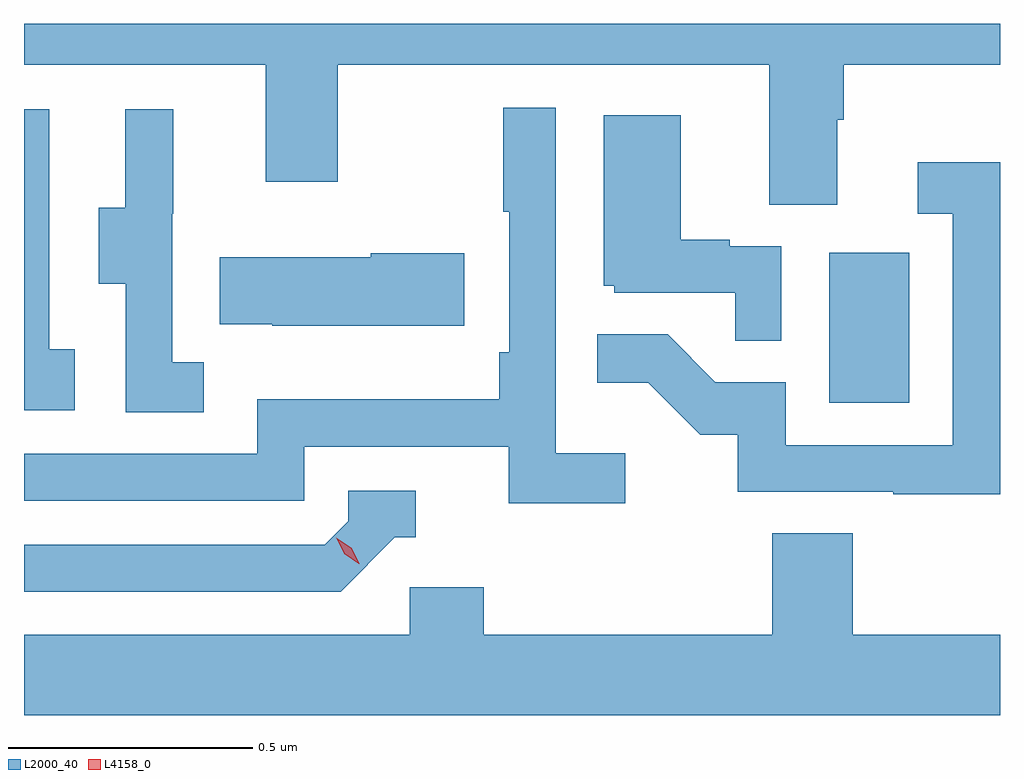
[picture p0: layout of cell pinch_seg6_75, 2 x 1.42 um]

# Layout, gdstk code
import gdstk
lib = gdstk.Library(unit=1e-6, precision=1e-09)
def R(c, l, rs):  # rectangles x0, y0, x1, y1
    for r in rs: c.add(gdstk.rectangle(r[:2], r[2:], *l))
def P(c, l, *ps):  # polygons
    for p in ps: c.add(gdstk.Polygon(p, *l))
L2000_40 = (2000, 40)
L4158_0 = (4158, 0)

pinch_seg6_75 = lib.new_cell('pinch_seg6_75')
R(pinch_seg6_75, L2000_40, [(893.966,930.66,894.13,930.967)])
P(pinch_seg6_75, L2000_40, [(893.983,931.24),(893.996,931.24),(893.996,931.352),(894.316,931.352),(894.316,931.436),(892.316,931.436),(892.316,931.352),(892.811,931.352),(892.811,931.113),(892.959,931.113),(892.959,931.352),(893.843,931.352),(893.843,931.066),(893.983,931.066)],
  [(893.548,930.556),(893.406,930.556),(893.406,931.264),(893.298,931.264),(893.298,931.051),(893.31,931.051),(893.31,930.763),(893.29,930.763),(893.29,930.667),(892.794,930.667),(892.794,930.555),(892.316,930.555),(892.316,930.459),(892.89,930.459),(892.89,930.57),(893.309,930.57),(893.309,930.454),(893.548,930.454)],
  [(892.42,930.77),(892.368,930.77),(892.368,931.261),(892.316,931.261),(892.316,930.645),(892.42,930.645)],
  [(892.684,930.743),(892.62,930.743),(892.62,931.047),(892.622,931.047),(892.622,931.261),(892.523,931.261),(892.523,931.059),(892.469,931.059),(892.469,930.904),(892.524,930.904),(892.524,930.64),(892.684,930.64)],
  [(893.868,930.981),(893.762,930.981),(893.762,930.994),(893.662,930.994),(893.662,931.249),(893.504,931.249),(893.504,930.9),(893.526,930.9),(893.526,930.885),(893.773,930.885),(893.773,930.787),(893.868,930.787)],
  [(894.316,931.153),(894.147,931.153),(894.147,931.047),(894.219,931.047),(894.219,930.573),(893.877,930.573),(893.877,930.702),(893.733,930.702),(893.635,930.8),(893.491,930.8),(893.491,930.701),(893.595,930.701),(893.702,930.594),(893.779,930.594),(893.779,930.477),(894.097,930.477),(894.097,930.472),(894.316,930.472)],
  [(893.218,930.966),(893.027,930.966),(893.027,930.958),(892.717,930.958),(892.717,930.821),(892.825,930.821),(892.825,930.818),(893.218,930.818)],
  [(893.076,930.384),(893.119,930.384),(893.119,930.48),(892.98,930.48),(892.98,930.417),(892.932,930.369),(892.316,930.369),(892.316,930.273),(892.965,930.273)],
  [(894.316,930.184),(894.014,930.184),(894.014,930.392),(893.849,930.392),(893.849,930.184),(893.258,930.184),(893.258,930.282),(893.106,930.282),(893.106,930.184),(892.316,930.184),(892.316,930.02),(894.316,930.02)])
P(pinch_seg6_75, L4158_0, [(893.002,930.33),(892.972,930.35),(892.956,930.383),(892.956,930.383),(892.956,930.383),(892.987,930.363),(893.003,930.331),(893.003,930.33)])

lib.write_gds('pinch_seg6_75.gds')
